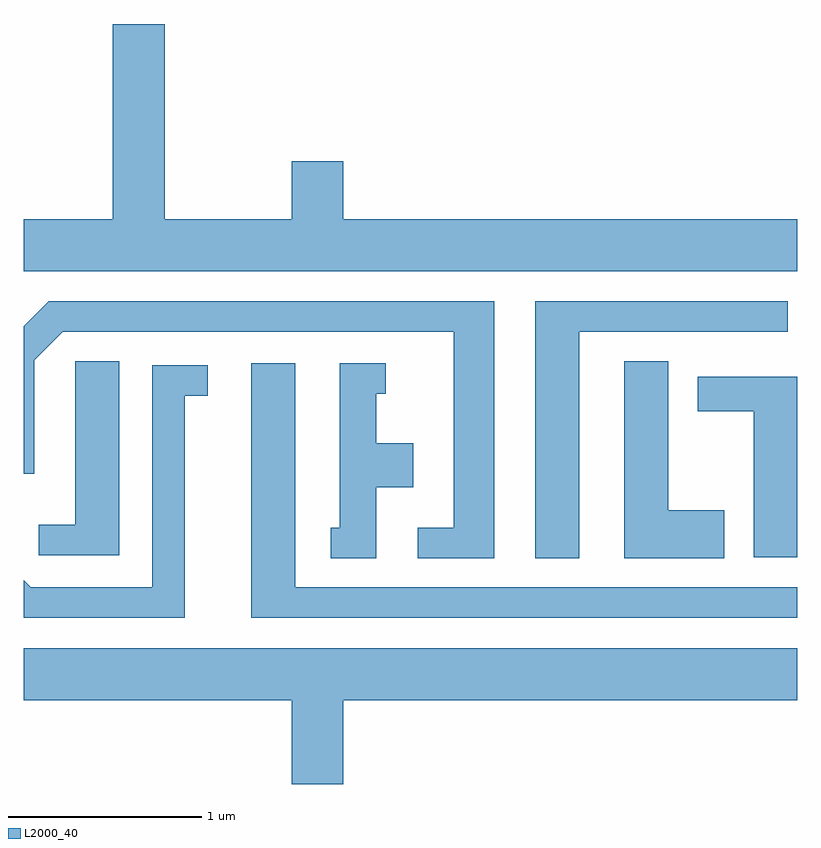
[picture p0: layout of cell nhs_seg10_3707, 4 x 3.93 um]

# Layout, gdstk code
import gdstk
lib = gdstk.Library(unit=1e-6, precision=1e-09)
def P(c, l, *ps):  # polygons
    for p in ps: c.add(gdstk.Polygon(p, *l))
L2000_40 = (2000, 40)

nhs_seg10_3707 = lib.new_cell('nhs_seg10_3707')
P(nhs_seg10_3707, L2000_40, [(297.611,2187.444),(295.264,2187.444),(295.264,2187.744),(294.996,2187.744),(294.996,2187.444),(294.339,2187.444),(294.339,2188.454),(294.071,2188.454),(294.071,2187.444),(293.611,2187.444),(293.611,2187.176),(297.611,2187.176)],
  [(296.484,2186.861),(297.563,2186.861),(297.563,2187.019),(296.256,2187.019),(296.256,2185.691),(296.484,2185.691)],
  [(296.044,2187.019),(293.739,2187.019),(293.611,2186.891),(293.611,2186.128),(293.664,2186.128),(293.664,2186.714),(293.812,2186.861),(295.836,2186.861),(295.836,2185.849),(295.648,2185.849),(295.648,2185.691),(296.044,2185.691)],
  [(297.234,2185.939),(296.944,2185.939),(296.944,2186.709),(296.716,2186.709),(296.716,2185.691),(297.234,2185.691)],
  [(294.104,2186.709),(293.876,2186.709),(293.876,2185.864),(293.688,2185.864),(293.688,2185.706),(294.104,2185.706)],
  [(297.611,2185.539),(295.014,2185.539),(295.014,2186.699),(294.786,2186.699),(294.786,2185.381),(297.611,2185.381)],
  [(295.434,2186.056),(295.624,2186.056),(295.624,2186.284),(295.434,2186.284),(295.434,2186.541),(295.483,2186.541),(295.483,2186.699),(295.246,2186.699),(295.246,2185.849),(295.198,2185.849),(295.198,2185.691),(295.434,2185.691)],
  [(294.444,2186.531),(294.563,2186.531),(294.563,2186.689),(294.276,2186.689),(294.276,2185.539),(293.647,2185.539),(293.611,2185.575),(293.611,2185.381),(294.444,2185.381)],
  [(297.611,2186.629),(297.096,2186.629),(297.096,2186.451),(297.386,2186.451),(297.386,2185.696),(297.611,2185.696)],
  [(295.264,2184.956),(297.611,2184.956),(297.611,2185.224),(293.611,2185.224),(293.611,2184.956),(294.996,2184.956),(294.996,2184.522),(295.264,2184.522)])

lib.write_gds('nhs_seg10_3707.gds')
